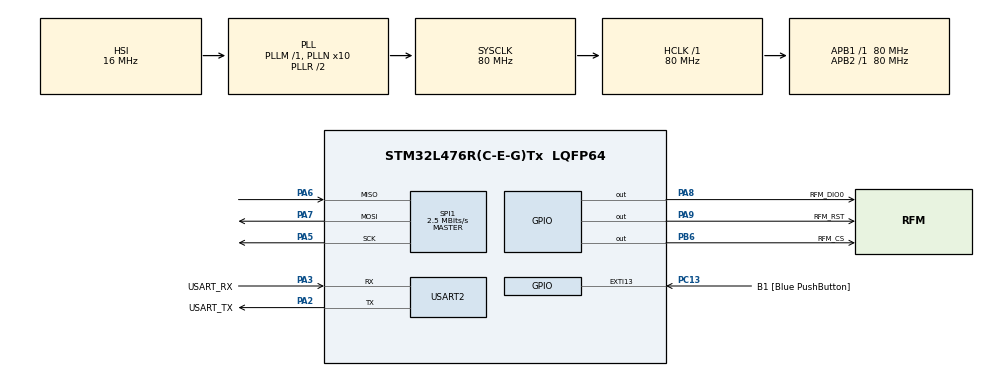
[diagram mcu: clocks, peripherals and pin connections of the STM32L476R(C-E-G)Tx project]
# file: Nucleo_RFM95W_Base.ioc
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Mcu.Family=STM32L4
Mcu.Name=STM32L476R(C-E-G)Tx
Mcu.Package=LQFP64
NVIC.PriorityGroup=NVIC_PRIORITYGROUP_4
PA13\ (JTMS-SWDIO).GPIO_Label=TMS
PA13\ (JTMS-SWDIO).Mode=Serial_Wire
PA13\ (JTMS-SWDIO).Signal=SYS_JTMS-SWDIO
PA14\ (JTCK-SWCLK).GPIO_Label=TCK
PA14\ (JTCK-SWCLK).Mode=Serial_Wire
PA14\ (JTCK-SWCLK).Signal=SYS_JTCK-SWCLK
PA2.GPIO_Label=USART_TX
PA2.GPIO_Mode=GPIO_MODE_AF_PP
PA2.GPIO_PuPd=GPIO_NOPULL
PA2.GPIO_Speed=GPIO_SPEED_FREQ_VERY_HIGH
PA2.Mode=Asynchronous
PA2.Signal=USART2_TX
PA3.GPIO_Label=USART_RX
PA3.GPIO_Mode=GPIO_MODE_AF_PP
PA3.GPIO_PuPd=GPIO_NOPULL
PA3.GPIO_Speed=GPIO_SPEED_FREQ_VERY_HIGH
PA3.Mode=Asynchronous
PA3.Signal=USART2_RX
PA5.Mode=Full_Duplex_Master
PA5.Signal=SPI1_SCK
PA6.Mode=Full_Duplex_Master
PA6.Signal=SPI1_MISO
PA7.Mode=Full_Duplex_Master
PA7.Signal=SPI1_MOSI
PA8.GPIO_Label=RFM_DIO0
PA8.Signal=GPIO_Output
PA9.GPIO_Label=RFM_RST
PA9.Signal=GPIO_Output
PB3\ (JTDO-TRACESWO).GPIO_Label=SWO
PB3\ (JTDO-TRACESWO).Signal=SYS_JTDO-SWO
PB6.GPIO_Label=RFM_CS
PB6.Signal=GPIO_Output
PC13.GPIO_Label=B1 [Blue PushButton]
PC13.GPIO_ModeDefaultEXTI=GPIO_MODE_IT_FALLING
PC13.GPIO_PuPd=GPIO_NOPULL
PC13.Signal=GPXTI13
PC14-OSC32_IN\ (PC14).Mode=LSE-External-Oscillator
PC14-OSC32_IN\ (PC14).Signal=RCC_OSC32_IN
PC15-OSC32_OUT\ (PC15).Mode=LSE-External-Oscillator
PC15-OSC32_OUT\ (PC15).Signal=RCC_OSC32_OUT
PH0-OSC_IN\ (PH0).Signal=RCC_OSC_IN
PH1-OSC_OUT\ (PH1).Signal=RCC_OSC_OUT
ProjectManager.HeapSize=0x200
ProjectManager.StackSize=0x400
ProjectManager.TargetToolchain=CMake
RCC.ADCFreq_Value=64000000
RCC.AHBFreq_Value=80000000
RCC.APB1Freq_Value=80000000
RCC.APB1TimFreq_Value=80000000
RCC.APB2Freq_Value=80000000
RCC.APB2TimFreq_Value=80000000
RCC.CortexFreq_Value=80000000
RCC.HCLKFreq_Value=80000000
RCC.HSE_VALUE=8000000
RCC.HSI_VALUE=16000000
RCC.MSI_VALUE=4000000
RCC.PLLN=10
RCC.PLLSourceVirtual=RCC_PLLSOURCE_HSI
RCC.PREFETCH_ENABLE=1
RCC.SYSCLKFreq_VALUE=80000000
RCC.SYSCLKSource=RCC_SYSCLKSOURCE_PLLCLK
RCC.USBFreq_Value=64000000
RCC.VCOOutputFreq_Value=160000000
SPI1.BaudRatePrescaler=SPI_BAUDRATEPRESCALER_32
SPI1.CalculateBaudRate=2.5 MBits/s
SPI1.DataSize=SPI_DATASIZE_8BIT
SPI1.Direction=SPI_DIRECTION_2LINES
SPI1.Mode=SPI_MODE_MASTER
SPI1.VirtualType=VM_MASTER
USART2.VirtualMode-Asynchronous=VM_ASYNC
board=NUCLEO-L476RG

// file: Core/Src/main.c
/* USER CODE BEGIN Header */
/**
  ******************************************************************************
  * @file           : main.c
  * @brief          : Main program body
  ******************************************************************************
  * @attention
  *
  * Copyright (c) 2026 STMicroelectronics.
  * All rights reserved.
  *
  * This software is licensed under terms that can be found in the LICENSE file
  * in the root directory of this software component.
  * If no LICENSE file comes with this software, it is provided AS-IS.
  *
  ******************************************************************************
  */
/* USER CODE END Header */
#include "main.h"

/* USER CODE BEGIN Includes */
#include "stdio.h"
#include "string.h"
/* USER CODE END Includes */

SPI_HandleTypeDef hspi1;

UART_HandleTypeDef huart2;

void SystemClock_Config(void);
static void MX_GPIO_Init(void);
static void MX_SPI1_Init(void);
static void MX_USART2_UART_Init(void);
/* USER CODE BEGIN PFP */
int __io_putchar(int ch);
uint8_t rfm_read_reg(uint8_t addr);
void rfm_write_reg(uint8_t addr, uint8_t val);
uint32_t rfm_frf_to_hz(uint8_t msb, uint8_t mid, uint8_t lsb);
/* USER CODE END PFP */

int main(void)
{

  /* MCU Configuration--------------------------------------------------------*/

  /* Reset of all peripherals, Initializes the Flash interface and the Systick. */
  HAL_Init();

  /* Configure the system clock */
  SystemClock_Config();

  /* Initialize all configured peripherals */
  MX_GPIO_Init();
  MX_SPI1_Init();
  MX_USART2_UART_Init();
  /* USER CODE BEGIN 2 */

  /* Identify board by 96-bit STM32 UID */
  const uint8_t *uid = (const uint8_t *)0x1FFF7590U;
  char uid_str[25];
  snprintf(uid_str, sizeof(uid_str),
           "%02X%02X%02X%02X%02X%02X%02X%02X%02X%02X%02X%02X",
           uid[0],  uid[1],  uid[2],  uid[3],
           uid[4],  uid[5],  uid[6],  uid[7],
           uid[8],  uid[9],  uid[10], uid[11]);

  const char *board_name = "Unknown";
  if      (strcmp(uid_str, "500022000350453151313620") == 0) board_name = "Board 1";
  else if (strcmp(uid_str, "400052001750563042313320") == 0) board_name = "Board 2";
  else if (strcmp(uid_str, "360020000350453151313620") == 0) board_name = "Board 3";

  printf("UID: %s --> %s\r\n", uid_str, board_name);

  /* Reset the RFM95W */
  HAL_GPIO_WritePin(RFM_RST_GPIO_Port, RFM_RST_Pin, GPIO_PIN_RESET);
  HAL_Delay(1); // hold reset low for at least 100 us
  HAL_GPIO_WritePin(RFM_RST_GPIO_Port, RFM_RST_Pin, GPIO_PIN_SET);
  HAL_Delay(10); // wait for module to come out of reset

  /* Read and print the version register */
  uint8_t version = rfm_read_reg(0x42);
  printf("RegVersion = 0x%02X\r\n", version);

  /* Set the RFM95W to sleep mode */
  rfm_write_reg(0x01, 0x80);
  HAL_Delay(10);

  /*Write the Frequency Registers*/
  rfm_write_reg(0x06, 0xE2); // FreqMsb
  rfm_write_reg(0x07, 0xA0); // FreqMid
  rfm_write_reg(0x08, 0x00); // FreqL

  /* Read Registers to Verify Write */
  uint8_t frf_msb = rfm_read_reg(0x06);
  uint8_t frf_mid = rfm_read_reg(0x07);
  uint8_t frf_lsb = rfm_read_reg(0x08);

  printf("FrfMsb = 0x%02X\r\n", frf_msb);
  printf("FrfMid = 0x%02X\r\n", frf_mid);
  printf("FrfLsb = 0x%02X\r\n", frf_lsb);
  uint32_t carrier_hz = rfm_frf_to_hz(frf_msb, frf_mid, frf_lsb);
  printf("Carrier = %lu.%03lu MHz\r\n", carrier_hz / 1000000UL, (carrier_hz % 1000000UL) / 1000UL);

  /* Read current mode and print*/
  printf("OpMode = 0x%02X\r\n", rfm_read_reg(0x01));

  /* Transition to Sleep */
  rfm_write_reg(0x01, 0x80);
  HAL_Delay(10);
  printf("OpMode (SLEEP) = 0x%02X\r\n", rfm_read_reg(0x01));

  /* Transition to Standby */
  rfm_write_reg(0x01, 0x81);
  HAL_Delay(10);
  printf("OpMode (STANDBY) = 0x%02X\r\n", rfm_read_reg(0x01));

  /* Transition to LoRa Transmit */
  rfm_write_reg(0x01, 0x83);
  HAL_Delay(10);
  printf("OpMode (TX) = 0x%02X\r\n", rfm_read_reg(0x01));

  /* USER CODE END 2 */

  /* Infinite loop */
  while (1)
  {

  }
}

void SystemClock_Config(void)
{
  RCC_OscInitTypeDef RCC_OscInitStruct = {0};
  RCC_ClkInitTypeDef RCC_ClkInitStruct = {0};

  /** Configure the main internal regulator output voltage
  */
  if (HAL_PWREx_ControlVoltageScaling(PWR_REGULATOR_VOLTAGE_SCALE1) != HAL_OK)
  {
    Error_Handler();
  }

  /** Initializes the RCC Oscillators according to the specified parameters
  * in the RCC_OscInitTypeDef structure.
  */
  RCC_OscInitStruct.OscillatorType = RCC_OSCILLATORTYPE_HSI;
  RCC_OscInitStruct.HSIState = RCC_HSI_ON;
  RCC_OscInitStruct.HSICalibrationValue = RCC_HSICALIBRATION_DEFAULT;
  RCC_OscInitStruct.PLL.PLLState = RCC_PLL_ON;
  RCC_OscInitStruct.PLL.PLLSource = RCC_PLLSOURCE_HSI;
  RCC_OscInitStruct.PLL.PLLM = 1;
  RCC_OscInitStruct.PLL.PLLN = 10;
  RCC_OscInitStruct.PLL.PLLP = RCC_PLLP_DIV7;
  RCC_OscInitStruct.PLL.PLLQ = RCC_PLLQ_DIV2;
  RCC_OscInitStruct.PLL.PLLR = RCC_PLLR_DIV2;
  if (HAL_RCC_OscConfig(&RCC_OscInitStruct) != HAL_OK)
  {
    Error_Handler();
  }

  /** Initializes the CPU, AHB and APB buses clocks
  */
  RCC_ClkInitStruct.ClockType = RCC_CLOCKTYPE_HCLK|RCC_CLOCKTYPE_SYSCLK
                              |RCC_CLOCKTYPE_PCLK1|RCC_CLOCKTYPE_PCLK2;
  RCC_ClkInitStruct.SYSCLKSource = RCC_SYSCLKSOURCE_PLLCLK;
  RCC_ClkInitStruct.AHBCLKDivider = RCC_SYSCLK_DIV1;
  RCC_ClkInitStruct.APB1CLKDivider = RCC_HCLK_DIV1;
  RCC_ClkInitStruct.APB2CLKDivider = RCC_HCLK_DIV1;

  if (HAL_RCC_ClockConfig(&RCC_ClkInitStruct, FLASH_LATENCY_4) != HAL_OK)
  {
    Error_Handler();
  }
}

static void MX_SPI1_Init(void)
{

  /* SPI1 parameter configuration*/
  hspi1.Instance = SPI1;
  hspi1.Init.Mode = SPI_MODE_MASTER;
  hspi1.Init.Direction = SPI_DIRECTION_2LINES;
  hspi1.Init.DataSize = SPI_DATASIZE_8BIT;
  hspi1.Init.CLKPolarity = SPI_POLARITY_LOW;
  hspi1.Init.CLKPhase = SPI_PHASE_1EDGE;
  hspi1.Init.NSS = SPI_NSS_SOFT;
  hspi1.Init.BaudRatePrescaler = SPI_BAUDRATEPRESCALER_32;
  hspi1.Init.FirstBit = SPI_FIRSTBIT_MSB;
  hspi1.Init.TIMode = SPI_TIMODE_DISABLE;
  hspi1.Init.CRCCalculation = SPI_CRCCALCULATION_DISABLE;
  hspi1.Init.CRCPolynomial = 7;
  hspi1.Init.CRCLength = SPI_CRC_LENGTH_DATASIZE;
  hspi1.Init.NSSPMode = SPI_NSS_PULSE_ENABLE;
  if (HAL_SPI_Init(&hspi1) != HAL_OK)
  {
    Error_Handler();
  }

}

static void MX_USART2_UART_Init(void)
{

  huart2.Instance = USART2;
  huart2.Init.BaudRate = 115200;
  huart2.Init.WordLength = UART_WORDLENGTH_8B;
  huart2.Init.StopBits = UART_STOPBITS_1;
  huart2.Init.Parity = UART_PARITY_NONE;
  huart2.Init.Mode = UART_MODE_TX_RX;
  huart2.Init.HwFlowCtl = UART_HWCONTROL_NONE;
  huart2.Init.OverSampling = UART_OVERSAMPLING_16;
  huart2.Init.OneBitSampling = UART_ONE_BIT_SAMPLE_DISABLE;
  huart2.AdvancedInit.AdvFeatureInit = UART_ADVFEATURE_NO_INIT;
  if (HAL_UART_Init(&huart2) != HAL_OK)
  {
    Error_Handler();
  }

}

static void MX_GPIO_Init(void)
{
  GPIO_InitTypeDef GPIO_InitStruct = {0};

  /* GPIO Ports Clock Enable */
  __HAL_RCC_GPIOC_CLK_ENABLE();
  __HAL_RCC_GPIOH_CLK_ENABLE();
  __HAL_RCC_GPIOA_CLK_ENABLE();
  __HAL_RCC_GPIOB_CLK_ENABLE();

  /*Configure GPIO pin Output Level */
  HAL_GPIO_WritePin(GPIOA, RFM_DIO0_Pin|RFM_RST_Pin, GPIO_PIN_RESET);

  /*Configure GPIO pin Output Level */
  HAL_GPIO_WritePin(RFM_CS_GPIO_Port, RFM_CS_Pin, GPIO_PIN_RESET);

  /*Configure GPIO pin : B1_Pin */
  GPIO_InitStruct.Pin = B1_Pin;
  GPIO_InitStruct.Mode = GPIO_MODE_IT_FALLING;
  GPIO_InitStruct.Pull = GPIO_NOPULL;
  HAL_GPIO_Init(B1_GPIO_Port, &GPIO_InitStruct);

  /*Configure GPIO pins : RFM_DIO0_Pin RFM_RST_Pin */
  GPIO_InitStruct.Pin = RFM_DIO0_Pin|RFM_RST_Pin;
  GPIO_InitStruct.Mode = GPIO_MODE_OUTPUT_PP;
  GPIO_InitStruct.Pull = GPIO_NOPULL;
  GPIO_InitStruct.Speed = GPIO_SPEED_FREQ_LOW;
  HAL_GPIO_Init(GPIOA, &GPIO_InitStruct);

  /*Configure GPIO pin : RFM_CS_Pin */
  GPIO_InitStruct.Pin = RFM_CS_Pin;
  GPIO_InitStruct.Mode = GPIO_MODE_OUTPUT_PP;
  GPIO_InitStruct.Pull = GPIO_NOPULL;
  GPIO_InitStruct.Speed = GPIO_SPEED_FREQ_LOW;
  HAL_GPIO_Init(RFM_CS_GPIO_Port, &GPIO_InitStruct);

}

/* USER CODE BEGIN 4 */
int __io_putchar(int ch)
{
  HAL_UART_Transmit(&huart2, (uint8_t *)&ch, 1, HAL_MAX_DELAY);
  return ch;
}

uint8_t rfm_read_reg(uint8_t addr) {
  uint8_t tx[2] = { addr & 0x7F, 0x00 }; // bit 7 = 0 => read
  uint8_t rx[2] = { 0, 0 };
  HAL_GPIO_WritePin(RFM_CS_GPIO_Port, RFM_CS_Pin, GPIO_PIN_RESET);
  HAL_SPI_TransmitReceive(&hspi1, tx, rx, 2, HAL_MAX_DELAY);
  HAL_GPIO_WritePin(RFM_CS_GPIO_Port, RFM_CS_Pin, GPIO_PIN_SET);
  return rx[1];
}

void rfm_write_reg(uint8_t addr, uint8_t val) {
  uint8_t tx[2] = { addr | 0x80, val }; // bit 7 = 1 => write
  HAL_GPIO_WritePin(RFM_CS_GPIO_Port, RFM_CS_Pin, GPIO_PIN_RESET);
  HAL_SPI_Transmit(&hspi1, tx, 2, HAL_MAX_DELAY);
  HAL_GPIO_WritePin(RFM_CS_GPIO_Port, RFM_CS_Pin, GPIO_PIN_SET);
}

uint32_t rfm_frf_to_hz(uint8_t msb, uint8_t mid, uint8_t lsb) {
  uint32_t frf = ((uint32_t)msb << 16) | ((uint32_t)mid << 8) | lsb;
  return (uint32_t)(((uint64_t)frf * 32000000ULL) / 524288ULL);
}
/* USER CODE END 4 */

void Error_Handler(void)
{
  __disable_irq();
  while (1)
  {
  }
}
